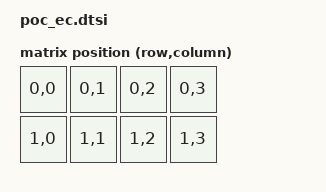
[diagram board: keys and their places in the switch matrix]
/*
 * Copyright (c) 2023 Diwamoto_
 *
 * SPDX-License-Identifier: MIT
 */

#include <dt-bindings/zmk/matrix_transform.h>

/ {
    chosen {
        zmk,matrix_transform = &default_transform;
    };

    default_transform: keymap_transform_0 {
        compatible = "zmk,matrix-transform";
        columns = <4>;
        rows = <2>;
// | SW1  | SW2  |   | SW1 | SW2 | 
// | SW3  | SW4  |   | SW3 | SW4 |
        map = <
            RC(0,0) RC(0,1)   RC(0,2) RC(0,3) 
            RC(1,0) RC(1,1)   RC(1,2) RC(1,3) 
        >;
    };

};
